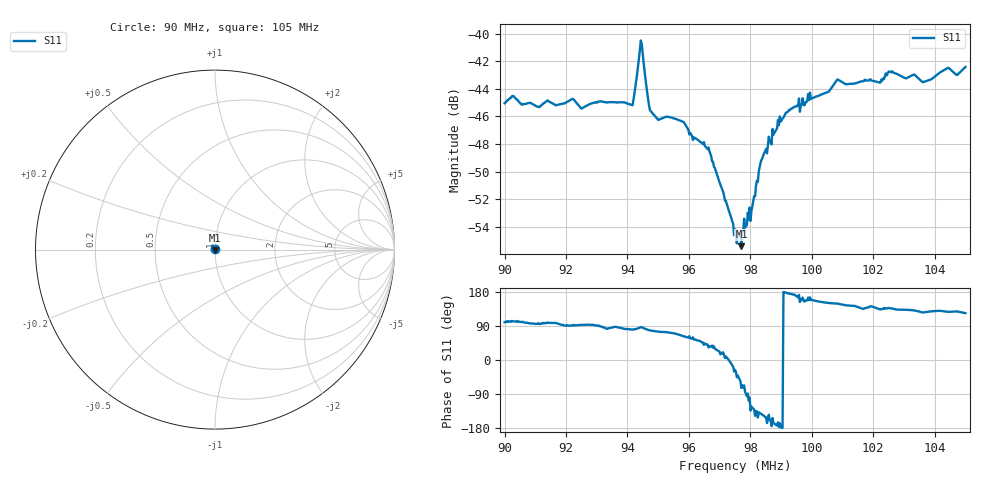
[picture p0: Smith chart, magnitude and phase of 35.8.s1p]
# HZ S RI R 50
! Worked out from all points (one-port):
!   505 points, 90 MHz to 105 MHz, reference 50 ohm
!   lowest |S11| = -55.4 dB at 97.71 MHz (marker M1), VSWR 1.00, Z = 50 - j0.163 ohm
!   |S11| at or under -10 dB: start of sweep to end of sweep
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9e7  -0.000958 0.00552
9.026786e7  -0.00124 0.00582
9.107143e7  -0.000494 0.00541
9.187501e7  -0.000258 0.00556
9.375001e7  0.000476 0.00562
9.416668e7  0.000935 0.00542
9.443454e7  0.000512 0.00944
9.449406e7  0.000725 0.00845
9.467263e7  0.00107 0.00568
9.479168e7  0.00111 0.00506
9.562502e7  0.00183 0.00453
9.666669e7  0.003 0.00225
9.750002e7  0.00175 -0.000861
9.770836e7  0.000473 -0.00163
9.80655e7  -0.00139 -0.00191
9.839288e7  -0.00291 -0.00203
9.895836e7  -0.00488 -0.00115
9.937503e7  -0.00532 0.000658
1.00506e8  -0.00536 0.00299
1.008334e8  -0.00585 0.00352
1.0125e8  -0.00529 0.00391
1.021727e8  -0.0047 0.00472
1.025596e8  -0.00529 0.00501
1.03125e8  -0.00466 0.00514
1.036608e8  -0.00393 0.00542
1.044048e8  -0.00455 0.00595
1.047322e8  -0.00437 0.00558
1.05e8  -0.0042 0.0063
